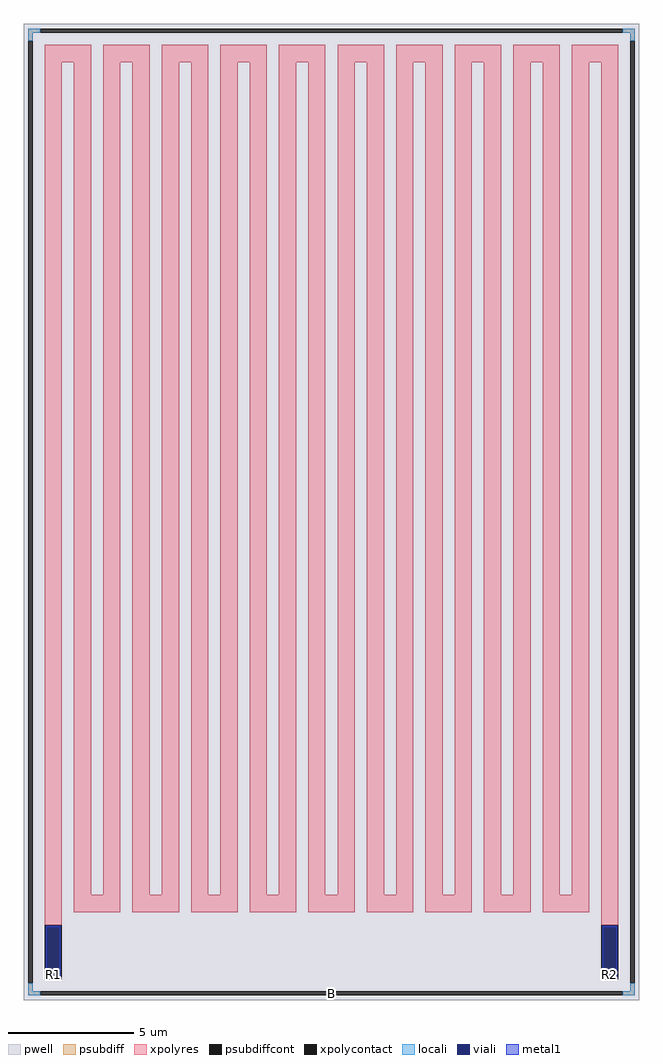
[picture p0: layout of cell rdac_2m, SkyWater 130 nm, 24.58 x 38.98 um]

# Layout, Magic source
magic
tech sky130A
magscale 1 2
<< pwell >>
rect -2458 -3898 2458 3898
<< psubdiff >>
rect -2422 3828 -2326 3862
rect 2326 3828 2422 3862
rect -2422 3766 -2388 3828
rect 2388 3766 2422 3828
rect -2422 -3828 -2388 -3766
rect 2388 -3828 2422 -3766
rect -2422 -3862 -2326 -3828
rect 2326 -3862 2422 -3828
<< psubdiffcont >>
rect -2326 3828 2326 3862
rect -2422 -3766 -2388 3766
rect 2388 -3766 2422 3766
rect -2326 -3862 2326 -3828
<< xpolycontact >>
rect -2292 -3732 -2154 -3300
rect 2154 -3732 2292 -3300
<< xpolyres >>
rect -2292 3594 -1920 3732
rect -2292 -3300 -2154 3594
rect -2058 -3058 -1920 3594
rect -1824 3594 -1452 3732
rect -1824 -3058 -1686 3594
rect -2058 -3196 -1686 -3058
rect -1590 -3058 -1452 3594
rect -1356 3594 -984 3732
rect -1356 -3058 -1218 3594
rect -1590 -3196 -1218 -3058
rect -1122 -3058 -984 3594
rect -888 3594 -516 3732
rect -888 -3058 -750 3594
rect -1122 -3196 -750 -3058
rect -654 -3058 -516 3594
rect -420 3594 -48 3732
rect -420 -3058 -282 3594
rect -654 -3196 -282 -3058
rect -186 -3058 -48 3594
rect 48 3594 420 3732
rect 48 -3058 186 3594
rect -186 -3196 186 -3058
rect 282 -3058 420 3594
rect 516 3594 888 3732
rect 516 -3058 654 3594
rect 282 -3196 654 -3058
rect 750 -3058 888 3594
rect 984 3594 1356 3732
rect 984 -3058 1122 3594
rect 750 -3196 1122 -3058
rect 1218 -3058 1356 3594
rect 1452 3594 1824 3732
rect 1452 -3058 1590 3594
rect 1218 -3196 1590 -3058
rect 1686 -3058 1824 3594
rect 1920 3594 2292 3732
rect 1920 -3058 2058 3594
rect 1686 -3196 2058 -3058
rect 2154 -3300 2292 3594
<< locali >>
rect -2422 3828 -2326 3862
rect 2326 3828 2422 3862
rect -2422 3766 -2388 3828
rect 2388 3766 2422 3828
rect -2422 -3828 -2388 -3766
rect 2388 -3828 2422 -3766
rect -2422 -3862 -2326 -3828
rect 2326 -3862 2422 -3828
<< viali >>
rect -2276 -3714 -2170 -3317
rect 2170 -3714 2276 -3317
<< metal1 >>
rect -2282 -3317 -2164 -3305
rect -2282 -3714 -2276 -3317
rect -2170 -3714 -2164 -3317
rect -2282 -3726 -2164 -3714
rect 2164 -3317 2282 -3305
rect 2164 -3714 2170 -3317
rect 2276 -3714 2282 -3317
rect 2164 -3726 2282 -3714
<< labels >>
rlabel psubdiffcont 0 -3845 0 -3845 0 B
port 1 nsew
rlabel xpolycontact -2223 -3697 -2223 -3697 0 R1
port 2 nsew
rlabel xpolycontact 2223 -3697 2223 -3697 0 R2
port 3 nsew
<< properties >>
string FIXED_BBOX -2405 -3845 2405 3845
<< end >>
